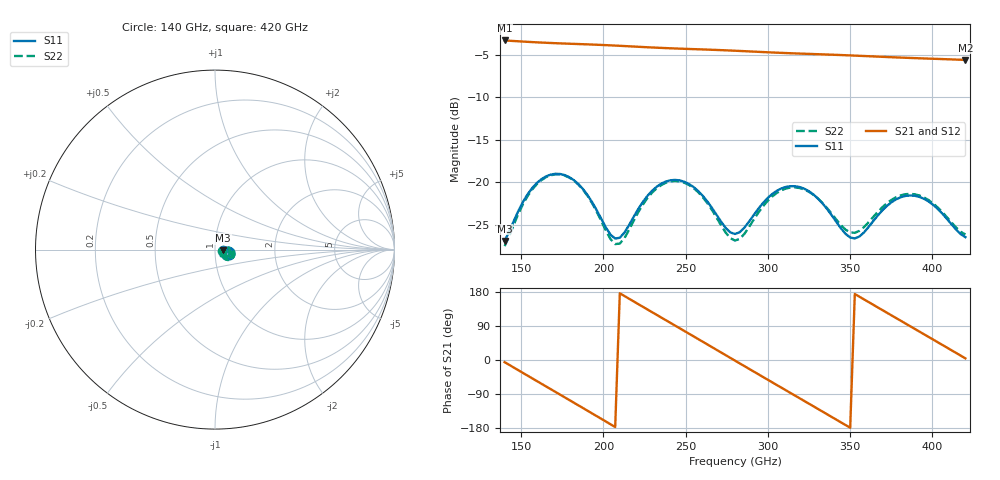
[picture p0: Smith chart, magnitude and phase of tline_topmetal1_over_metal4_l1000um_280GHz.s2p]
#  GHZ S DB R 50
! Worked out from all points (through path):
!   101 points, 140 GHz to 420 GHz, reference 50 ohm
!   highest |S21| = -3.31 dB at 140 GHz (marker M1); lowest = -5.6 dB at 420 GHz (marker M2)
!   group delay of S21, straight-line fit = 7.04 ps
!   lowest |S11| = -26.9 dB at 140 GHz (marker M3), VSWR 1.09, Z = 54.7 - j0.533 ohm
!   |S11| at or under -10 dB: start of sweep to end of sweep
!   |S22| runs from -27.5 to -19.1 dB; largest |S21 - S12| = 7e-14
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140  -26.93 -6.2  -3.31 -5.7  -3.31 -5.7  -27.55 -7.8
151.2  -22.32 8.2  -3.44 -34.3  -3.44 -34.3  -22.58 8.2
165.2  -19.32 -6.9  -3.58 -69.8  -3.58 -69.8  -19.41 -7.6
176.4  -19.17 -23.4  -3.67 -98.2  -3.67 -98.2  -19.22 -24.8
187.6  -20.82 -37.6  -3.75 -126.7  -3.75 -126.7  -20.88 -39.9
207.2  -26.65 -20.6  -3.91 -176.8  -3.91 -176.8  -27.30 -23.3
221.2  -23.17 5.4  -4.05 147.5  -4.05 147.5  -23.54 5.9
235.2  -20.18 -5.6  -4.18 112.1  -4.18 112.1  -20.35 -5.7
254.8  -20.58 -30.6  -4.33 62.5  -4.33 62.5  -20.70 -32.1
268.8  -23.86 -37.1  -4.43 26.9  -4.43 26.9  -24.18 -39.9
280  -26.11 -18.0  -4.52 -1.6  -4.52 -1.6  -26.88 -19.2
291.2  -23.93 -0.1  -4.62 -30.1  -4.62 -30.1  -24.47 1.9
305.2  -21.05 -6.8  -4.75 -65.5  -4.75 -65.5  -21.30 -4.6
316.4  -20.48 -20.0  -4.83 -93.7  -4.83 -93.7  -20.62 -17.8
327.6  -21.45 -32.7  -4.91 -122.0  -4.91 -122.0  -21.48 -30.3
338.8  -23.92 -38.2  -4.98 -150.4  -4.98 -150.4  -23.74 -35.3
350  -26.52 -24.4  -5.07 -178.8  -5.07 -178.8  -25.92 -22.6
361.2  -25.28 -3.7  -5.16 152.8  -5.16 152.8  -24.72 -5.2
375.2  -22.35 -5.5  -5.28 117.5  -5.28 117.5  -22.08 -7.6
394.8  -21.96 -25.5  -5.43 68.1  -5.43 68.1  -21.80 -27.2
408.8  -24.33 -32.8  -5.52 32.7  -5.52 32.7  -24.14 -34.1
420  -26.48 -21.4  -5.60 4.4  -5.60 4.4  -26.18 -22.9
